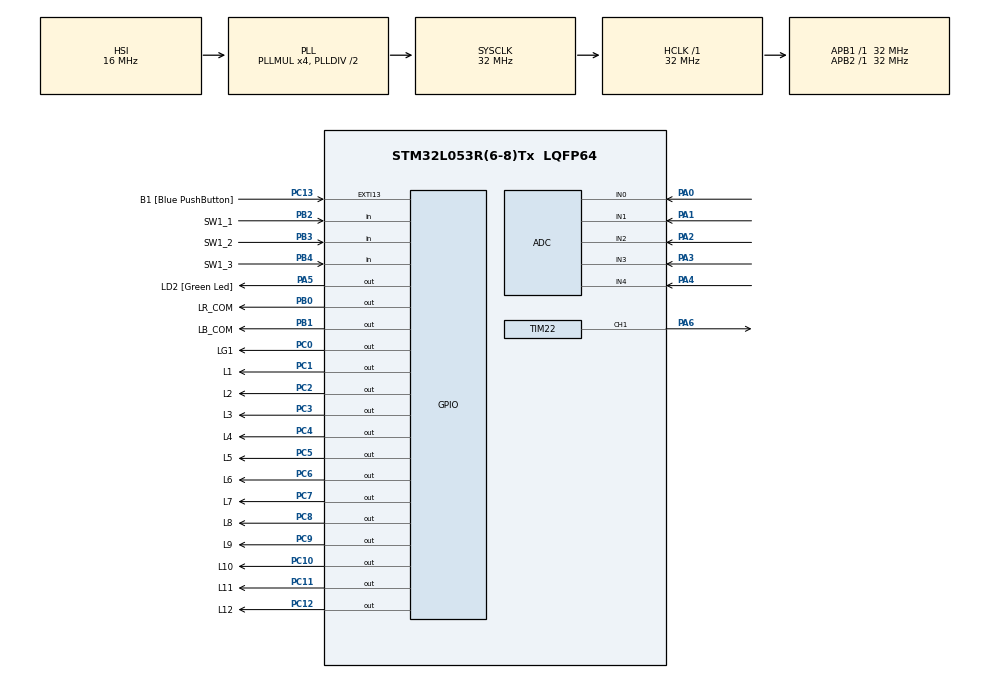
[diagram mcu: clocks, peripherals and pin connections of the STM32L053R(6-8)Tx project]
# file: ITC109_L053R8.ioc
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ADC.ClockPrescaler=ADC_CLOCK_ASYNC_DIV8
ADC.ContinuousConvMode=ENABLE
ADC.DMAContinuousRequests=ENABLE
ADC.DiscontinuousConvMode=DISABLE
ADC.SamplingTime=ADC_SAMPLETIME_19CYCLES_5
Dma.ADC.0.Direction=DMA_PERIPH_TO_MEMORY
Dma.ADC.0.Instance=DMA1_Channel1
Dma.ADC.0.MemDataAlignment=DMA_MDATAALIGN_HALFWORD
Dma.ADC.0.MemInc=DMA_MINC_ENABLE
Dma.ADC.0.Mode=DMA_CIRCULAR
Dma.ADC.0.PeriphDataAlignment=DMA_PDATAALIGN_HALFWORD
Dma.ADC.0.PeriphInc=DMA_PINC_DISABLE
Dma.ADC.0.Priority=DMA_PRIORITY_LOW
Dma.Request0=ADC
Mcu.Family=STM32L0
Mcu.Name=STM32L053R(6-8)Tx
Mcu.Package=LQFP64
NVIC.DMA1_Channel1_IRQn=true\:0\:0\:true\:false\:true\:false\:true\:true
NVIC.TIM6_DAC_IRQn=true\:0\:0\:true\:false\:true\:true\:true\:true
PA0.Mode=IN0
PA0.Signal=ADC_IN0
PA1.Mode=IN1
PA1.Signal=ADC_IN1
PA13.GPIO_Label=TMS
PA13.Mode=Serial_Wire
PA13.Signal=SYS_SWDIO
PA14.GPIO_Label=TCK
PA14.Mode=Serial_Wire
PA14.Signal=SYS_SWCLK
PA2.Mode=IN2
PA2.Signal=ADC_IN2
PA3.Mode=IN3
PA3.Signal=ADC_IN3
PA4.Mode=IN4
PA4.Signal=ADC_IN4
PA5.GPIO_Label=LD2 [Green Led]
PA5.Signal=GPIO_Output
PA6.Signal=S_TIM22_CH1
PB0.GPIO_Label=LR_COM
PB0.Signal=GPIO_Output
PB1.GPIO_Label=LB_COM
PB1.Signal=GPIO_Output
PB2.GPIO_Label=SW1_1
PB2.GPIO_Mode=GPIO_MODE_INPUT
PB2.GPIO_PuPd=GPIO_PULLDOWN
PB2.Signal=GPIO_Input
PB3.GPIO_Label=SW1_2
PB3.GPIO_Mode=GPIO_MODE_INPUT
PB3.GPIO_PuPd=GPIO_PULLDOWN
PB3.Signal=GPIO_Input
PB4.GPIO_Label=SW1_3
PB4.GPIO_Mode=GPIO_MODE_INPUT
PB4.GPIO_PuPd=GPIO_PULLDOWN
PB4.Signal=GPIO_Input
PC0.GPIO_Label=LG1
PC0.PinState=GPIO_PIN_SET
PC0.Signal=GPIO_Output
PC1.GPIO_Label=L1
PC1.Signal=GPIO_Output
PC10.GPIO_Label=L10
PC10.Signal=GPIO_Output
PC11.GPIO_Label=L11
PC11.Signal=GPIO_Output
PC12.GPIO_Label=L12
PC12.Signal=GPIO_Output
PC13.GPIO_Label=B1 [Blue PushButton]
PC13.GPIO_ModeDefaultEXTI=GPIO_MODE_IT_FALLING
PC13.Signal=GPXTI13
PC14-OSC32_IN.Mode=LSE-External-Oscillator
PC14-OSC32_IN.Signal=RCC_OSC32_IN
PC15-OSC32_OUT.Mode=LSE-External-Oscillator
PC15-OSC32_OUT.Signal=RCC_OSC32_OUT
PC2.GPIO_Label=L2
PC2.Signal=GPIO_Output
PC3.GPIO_Label=L3
PC3.Signal=GPIO_Output
PC4.GPIO_Label=L4
PC4.Signal=GPIO_Output
PC5.GPIO_Label=L5
PC5.Signal=GPIO_Output
PC6.GPIO_Label=L6
PC6.Signal=GPIO_Output
PC7.GPIO_Label=L7
PC7.Signal=GPIO_Output
PC8.GPIO_Label=L8
PC8.Signal=GPIO_Output
PC9.GPIO_Label=L9
PC9.Signal=GPIO_Output
PH0-OSC_IN.Mode=HSE-External-Clock-Source
PH0-OSC_IN.Signal=RCC_OSC_IN
PH1-OSC_OUT.Signal=RCC_OSC_OUT
ProjectManager.HeapSize=0x200
ProjectManager.StackSize=0x400
ProjectManager.TargetToolchain=CMake
RCC.AHBFreq_Value=32000000
RCC.APB1Freq_Value=32000000
RCC.APB1TimFreq_Value=32000000
RCC.APB2Freq_Value=32000000
RCC.APB2TimFreq_Value=32000000
RCC.HCLKFreq_Value=32000000
RCC.HSI16_VALUE=16000000
RCC.HSI48_VALUE=48000000
RCC.HSI_VALUE=16000000
RCC.MSI_VALUE=2097000
RCC.PLLMUL=RCC_PLLMUL_4
RCC.SYSCLKFreq_VALUE=32000000
RCC.SYSCLKSource=RCC_SYSCLKSOURCE_PLLCLK
RCC.VCOOutputFreq_Value=64000000
SH.S_TIM22_CH1.0=TIM22_CH1,PWM Generation1 CH1
TIM22.Channel-PWM\ Generation1\ CH1=TIM_CHANNEL_1
TIM22.Period=1000-1
TIM22.Prescaler=31
TIM22.Pulse-PWM\ Generation1\ CH1=0
TIM6.Period=100-1
TIM6.Prescaler=32-1
VP_TIM22_VS_ClockSourceINT.Mode=Internal
VP_TIM6_VS_ClockSourceINT.Mode=Enable_Timer
board=NUCLEO-L053R8

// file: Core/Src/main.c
/* USER CODE BEGIN Header */
/**
 ******************************************************************************
 * @file           : main.c
 * @brief          : Main program body
 ******************************************************************************
 * @attention
 *
 * Copyright (c) 2025 STMicroelectronics.
 * All rights reserved.
 *
 * This software is licensed under terms that can be found in the LICENSE file
 * in the root directory of this software component.
 * If no LICENSE file comes with this software, it is provided AS-IS.
 *
 ******************************************************************************
 */
/* USER CODE END Header */
#include "main.h"
#include "adc.h"
#include "dma.h"
#include "tim.h"
#include "gpio.h"

/* USER CODE BEGIN Includes */
#include <math.h>
/* USER CODE END Includes */

/* USER CODE BEGIN PV */
uint8_t  mode, old_mode;
uint16_t led_r, led_b, led_g;
uint8_t  node_mode;
uint8_t  software_pwm_count, software_pwm_th;

__IO uint16_t time_count1, time_count2;
__IO uint8_t  display_count = 0;
uint8_t       display_index;

// The ADXL335 output is ratiometric, therefore, the output
// sensitivity (or scale factor) varies proportionally to the
// supply voltage. At VS = 3.6 V, the output sensitivity is typically 360 mV/g. At VS = 2 V, the output sensitivity is
// typically 195 mV/g.
// use 3.3v 1g ~= 0.33v
const float ONE_G_SENSOR_VALUE = 0.33f;

/* USER CODE END PV */

void SystemClock_Config(void);
/* USER CODE BEGIN PFP */
uint16_t calcLedFromAngle(int angle);
void     baseMode5(void);
/* USER CODE END PFP */

/* USER CODE BEGIN 0 */
uint16_t adc[5];
/* USER CODE END 0 */

int main(void) {

  /* MCU Configuration--------------------------------------------------------*/

  /* Reset of all peripherals, Initializes the Flash interface and the Systick. */
  HAL_Init();

  /* Configure the system clock */
  SystemClock_Config();

  /* Initialize all configured peripherals */
  MX_GPIO_Init();
  MX_DMA_Init();
  MX_ADC_Init();
  MX_TIM6_Init();
  MX_TIM22_Init();
  /* USER CODE BEGIN 2 */
  HAL_TIM_Base_Start_IT(&htim6);
  HAL_TIM_PWM_Start(&htim22, TIM_CHANNEL_1);

  HAL_ADCEx_Calibration_Start(&hadc, ADC_SINGLE_ENDED);
  HAL_ADC_Start_DMA(&hadc, (uint32_t *)adc, 5);
  /* USER CODE END 2 */

  /* Infinite loop */
  /* USER CODE BEGIN WHILE */
  while (1) {
    mode = (GPIOB->IDR >> 2) & 0x7;
    // mode = 5;
    if (mode != old_mode) {
      old_mode    = mode;
      time_count1 = time_count2 = node_mode = led_b = led_r = led_g = 0;

      TIM21->CCR1 = 0;  // stop buzzer

      switch (mode) {
        case 1: {
          led_b = 1 << 5;
          led_r = 1 << (5 - 1);
        } break;
        case 2: {
          GPIOC->ODR = 1;
        } break;
      }
    }

    switch (mode) {
      case 1: {
        if (!time_count1) {
          time_count1 = 1000 * 10;  // 1s

          led_r <<= 1;
          if (led_r >> 12) led_r = 1;
          else if (led_r >> 11) led_b <<= 1;
          if (led_b >> 12) led_b = 1;
        }
      } break;

      case 2: {
        if (!time_count1) {
          software_pwm_count = (software_pwm_count + 1) % 10;
          time_count1        = 1;  // 0.1ms
        }

        if (!time_count2) {
          if (node_mode % 2) {
            software_pwm_th++;
            if (software_pwm_th > 10) node_mode++;
          } else {
            software_pwm_th--;
            if (software_pwm_th == 0xff) {
              node_mode++;
              software_pwm_th = 0;
            }
          }
          node_mode %= 5;
          time_count2 = 100 * 10;  // 100ms
        }

        uint8_t status1 = node_mode > 2;  // 0, 1
        uint8_t status2 = software_pwm_count < software_pwm_th;
        HAL_GPIO_WritePin(LR_COM_GPIO_Port, LR_COM_Pin, !status1 && status2);
        HAL_GPIO_WritePin(LB_COM_GPIO_Port, LB_COM_Pin, status1 && status2);
        // led_r = software_pwm_count > software_pwm_th ? 0xfff : 0;
      } break;

      case 3: {
        float voltage_x = adc[0] * 3.3f / 4096;

        float x_g = (voltage_x - 1.65f) / ONE_G_SENSOR_VALUE;
        led_r = led_b = led_g = 0;
        if (x_g < -0.7) led_r = 1 << 2;       // LR3
        else if (x_g < -0.3) led_b = 1 << 2;  // LB3
        else if (x_g < 0.3) led_g = 1 << 0;   // LG1
        else if (x_g < 0.7) led_b = 1 << 8;   // LB9
        else led_r = 1 << 8;                  // LR9
      } break;

      case 4: {
        float voltage_x_int = adc[3] * 3.3f / 4096;

        if (voltage_x_int < 0.8) led_r = 1 << 8;
        else if (voltage_x_int < 1.2) led_b = 1 << 8;
        else if (voltage_x_int < 2.0) led_g = 1;
        else if (voltage_x_int < 2.4) led_b = 1 << 2;
        else led_r = 1 << 2;
      } break;

      case 5:
      case 6: {
        baseMode5();

        if (mode == 5) break;

        uint16_t mask = 1 << node_mode;

        if (!time_count2) {
          TIM22->CCR1 = 0;

          if (led_r & mask || led_b & mask) {  // 判斷重疊
            time_count2 = 200 * 10;            // 200ms
            TIM22->CCR1 = 127;
          }
        }

        led_r |= mask;
        led_b |= mask;

        if (!time_count1) {
          time_count1 = 200 * 10;  // 200ms

          node_mode = (node_mode + 1) % 12;  // 0-11 [1~12 LEDs]
        }
      } break;

      case 7: {
        float voltage_x = adc[0] * 3.3f / 4096;
        float voltage_y = adc[1] * 3.3f / 4096;

        float x_g  = (voltage_x - 1.65f) / ONE_G_SENSOR_VALUE;
        float y_g  = (voltage_y - 1.65f) / ONE_G_SENSOR_VALUE;
        float xy_g = sqrtf(x_g * x_g + y_g * y_g);

        led_r = led_b = led_g = 0;

        if (xy_g < 0.3) {
          led_r = 0xfff;  // all on
          led_b = (1 << 2) | (1 << 5) | (1 << 8) | (1 << 11);
          led_g = 1;
        } else if (xy_g < 0.7) {  // off all led (do nothing)
        } else {
          float    angle = atan2f(y_g, x_g) / 3.1415926f * 180.0f;
          uint16_t led   = calcLedFromAngle(angle);

          led_g = 1;
          led_r = led_b = led;
        }
      } break;
    }

    if (!display_count && mode != 2) {
      HAL_GPIO_WritePin(LR_COM_GPIO_Port, LR_COM_Pin, display_index);   // LR
      HAL_GPIO_WritePin(LB_COM_GPIO_Port, LB_COM_Pin, !display_index);  // LB
      GPIOC->ODR    = (~(display_index ? led_r : led_b) & 0xfff) << 1 | !led_g;
      display_index = !display_index;
      display_count = 10 * 10;
    }
    /* USER CODE END WHILE */

  }
}

void SystemClock_Config(void) {
  RCC_OscInitTypeDef RCC_OscInitStruct = {0};
  RCC_ClkInitTypeDef RCC_ClkInitStruct = {0};

  /** Configure the main internal regulator output voltage
   */
  __HAL_PWR_VOLTAGESCALING_CONFIG(PWR_REGULATOR_VOLTAGE_SCALE1);

  /** Initializes the RCC Oscillators according to the specified parameters
   * in the RCC_OscInitTypeDef structure.
   */
  RCC_OscInitStruct.OscillatorType      = RCC_OSCILLATORTYPE_HSI;
  RCC_OscInitStruct.HSIState            = RCC_HSI_ON;
  RCC_OscInitStruct.HSICalibrationValue = RCC_HSICALIBRATION_DEFAULT;
  RCC_OscInitStruct.PLL.PLLState        = RCC_PLL_ON;
  RCC_OscInitStruct.PLL.PLLSource       = RCC_PLLSOURCE_HSI;
  RCC_OscInitStruct.PLL.PLLMUL          = RCC_PLLMUL_4;
  RCC_OscInitStruct.PLL.PLLDIV          = RCC_PLLDIV_2;
  if (HAL_RCC_OscConfig(&RCC_OscInitStruct) != HAL_OK) {
    Error_Handler();
  }

  /** Initializes the CPU, AHB and APB buses clocks
   */
  RCC_ClkInitStruct.ClockType = RCC_CLOCKTYPE_HCLK | RCC_CLOCKTYPE_SYSCLK | RCC_CLOCKTYPE_PCLK1 | RCC_CLOCKTYPE_PCLK2;
  RCC_ClkInitStruct.SYSCLKSource   = RCC_SYSCLKSOURCE_PLLCLK;
  RCC_ClkInitStruct.AHBCLKDivider  = RCC_SYSCLK_DIV1;
  RCC_ClkInitStruct.APB1CLKDivider = RCC_HCLK_DIV1;
  RCC_ClkInitStruct.APB2CLKDivider = RCC_HCLK_DIV1;

  if (HAL_RCC_ClockConfig(&RCC_ClkInitStruct, FLASH_LATENCY_1) != HAL_OK) {
    Error_Handler();
  }
}

/* USER CODE BEGIN 4 */
uint16_t calcLedFromAngle(int angle) {
  if (angle < -15) angle += 360 - 15;
  if (angle < -15)
    ;
  else if (angle < 15) return 1 << 2;
  else if (angle < 45) return 1 << 1;
  else if (angle < 75) return 1 << 0;
  else if (angle < 105) return 1 << 11;
  else if (angle < 135) return 1 << 10;
  else if (angle < 165) return 1 << 9;
  else if (angle < 195) return 1 << 8;
  else if (angle < 225) return 1 << 7;
  else if (angle < 255) return 1 << 6;
  else if (angle < 285) return 1 << 5;
  else if (angle < 315) return 1 << 4;
  else if (angle < 345) return 1 << 3;

  return 0;
}

void baseMode5(void) {
  float voltage_x = adc[0] * 3.3f / 4096;
  float voltage_y = adc[1] * 3.3f / 4096;

  float x_g  = (voltage_x - 1.65f) / ONE_G_SENSOR_VALUE;
  float y_g  = (voltage_y - 1.65f) / ONE_G_SENSOR_VALUE;
  float xy_g = sqrtf(x_g * x_g + y_g * y_g);

  led_r = led_b = led_g = 0;

  if (xy_g < 0.3) led_g = 1;
  else {
    float    angle = atan2f(y_g, x_g) / 3.1415926f * 180.0f;
    uint16_t led   = calcLedFromAngle(angle);

    if (xy_g < 0.7) led_b = led;
    else led_r = led;
  }
}

void HAL_TIM_PeriodElapsedCallback(TIM_HandleTypeDef *htim) {
  // every 0.1ms
  if (htim->Instance == TIM6) {
    if (time_count1 > 0) time_count1--;
    if (time_count2 > 0) time_count2--;
    if (display_count > 0) display_count--;
  }
}
/* USER CODE END 4 */

void Error_Handler(void) {
  __disable_irq();
  while (1) {
  }
}

#ifdef USE_FULL_ASSERT
/**
 * @brief  Reports the name of the source file and the source line number
 *         where the assert_param error has occurred.
 * @param  file: pointer to the source file name
 * @param  line: assert_param error line source number
 * @retval None
 */
void assert_failed(uint8_t *file, uint32_t line) {
  /* USER CODE BEGIN 6 */
  /* User can add his own implementation to report the file name and line
     number, ex: printf("Wrong parameters value: file %s on line %d\r\n", file,
     line) */
  /* USER CODE END 6 */
}
#endif /* USE_FULL_ASSERT */
